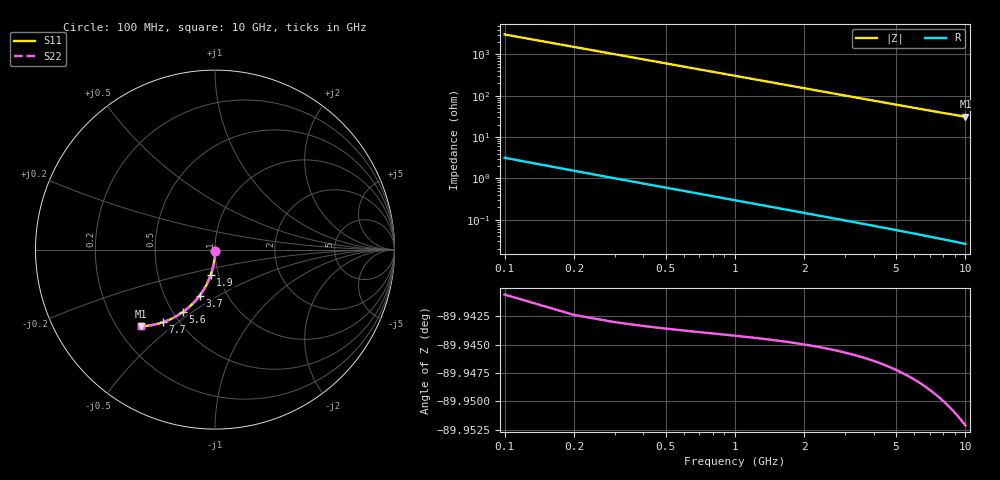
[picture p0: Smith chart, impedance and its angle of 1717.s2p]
# Hz S RI R 50.00
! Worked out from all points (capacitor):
!   100 points, 100 MHz to 10 GHz, reference 50 ohm
!   read as one part in shunt: C = 523 fF near 100 MHz
!   lowest |Z| = 31.1 ohm at 10 GHz (marker M1)
!   S11 on the Smith chart (normalised r, x): 100 MHz: 1.00, -0.02; 1.9 GHz: 0.92, -0.26; 3.7 GHz: 0.75, -0.41; 5.6 GHz: 0.56, -0.46; 7.7 GHz: 0.41, -0.44; 10 GHz: 0.30, -0.39
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1e8  8.86e-05 -0.00758  0.9998 -0.00886  0.9998 -0.00886  8.86e-05 -0.00758
2e8  -0.00012 -0.0152  0.9995 -0.0177  0.9995 -0.0177  -0.00012 -0.0152
3e8  -0.000463 -0.0227  0.9992 -0.0266  0.9992 -0.0266  -0.000463 -0.0227
4e8  -0.000939 -0.0303  0.9987 -0.0354  0.9987 -0.0354  -0.000939 -0.0303
5e8  -0.00155 -0.0378  0.9981 -0.0442  0.9981 -0.0442  -0.00155 -0.0378
6e8  -0.00229 -0.0454  0.9973 -0.053  0.9973 -0.053  -0.00229 -0.0454
8e8  -0.00418 -0.0604  0.9954 -0.0706  0.9954 -0.0706  -0.00418 -0.0604
1.1e9  -0.00799 -0.0827  0.9916 -0.0968  0.9916 -0.0968  -0.00799 -0.0827
1.4e9  -0.013 -0.1048  0.9865 -0.1227  0.9865 -0.1227  -0.013 -0.1048
1.8e9  -0.0213 -0.1335  0.978 -0.1566  0.978 -0.1566  -0.0213 -0.1335
1.9e9  -0.0237 -0.1406  0.9756 -0.1649  0.9756 -0.1649  -0.0237 -0.1406
2.2e9  -0.0316 -0.1615  0.9676 -0.1896  0.9676 -0.1896  -0.0316 -0.1615
2.6e9  -0.0437 -0.1884  0.9554 -0.2217  0.9554 -0.2217  -0.0437 -0.1884
3.4e9  -0.0728 -0.2386  0.9259 -0.2822  0.9259 -0.2822  -0.0728 -0.2386
3.7e9  -0.0852 -0.2561  0.9133 -0.3036  0.9133 -0.3036  -0.0852 -0.2561
4.4e9  -0.1168 -0.2935  0.8812 -0.3502  0.8812 -0.3502  -0.1168 -0.2935
5.1e9  -0.1514 -0.3262  0.8461 -0.392  0.8461 -0.392  -0.1514 -0.3262
5.6e9  -0.1774 -0.3466  0.8196 -0.419  0.8196 -0.419  -0.1774 -0.3466
6.7e9  -0.2371 -0.3826  0.7587 -0.4696  0.7587 -0.4696  -0.2371 -0.3826
7.7e9  -0.2924 -0.4054  0.7022 -0.5058  0.7022 -0.5058  -0.2924 -0.4054
8.4e9  -0.3307 -0.4161  0.6629 -0.526  0.6629 -0.526  -0.3307 -0.4161
1e10  -0.4144 -0.4269  0.5764 -0.5588  0.5764 -0.5588  -0.4144 -0.4269
